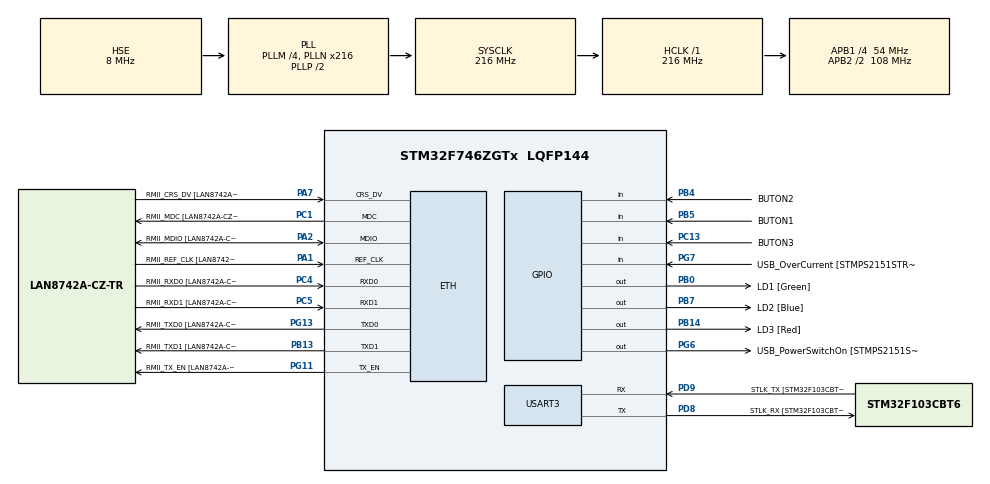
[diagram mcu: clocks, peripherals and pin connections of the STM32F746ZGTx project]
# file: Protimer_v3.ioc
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ETH.MediaInterface=ETH_MEDIA_INTERFACE_RMII
ETH.PHY_Name=LAN8742A_PHY_ADDRESS
ETH.PHY_Value=0
ETH.PhyAddress=0
Mcu.Family=STM32F7
Mcu.Name=STM32F746ZGTx
Mcu.Package=LQFP144
NVIC.PriorityGroup=NVIC_PRIORITYGROUP_4
PA1.GPIO_Label=RMII_REF_CLK [LAN8742A-CZ-TR_REFCLK0]
PA1.Mode=RMII
PA1.Signal=ETH_REF_CLK
PA13.GPIO_Label=TMS
PA13.Mode=Trace_Asynchronous_SW
PA13.Signal=SYS_JTMS-SWDIO
PA14.GPIO_Label=TCK
PA14.Mode=Trace_Asynchronous_SW
PA14.Signal=SYS_JTCK-SWCLK
PA2.GPIO_Label=RMII_MDIO [LAN8742A-CZ-TR_MDIO]
PA2.Mode=RMII
PA2.Signal=ETH_MDIO
PA7.GPIO_Label=RMII_CRS_DV [LAN8742A-CZ-TR_CRS_DV]
PA7.Mode=RMII
PA7.Signal=ETH_CRS_DV
PB0.GPIO_Label=LD1 [Green]
PB0.Signal=GPIO_Output
PB13.GPIO_Label=RMII_TXD1 [LAN8742A-CZ-TR_TXD1]
PB13.Mode=RMII
PB13.Signal=ETH_TXD1
PB14.GPIO_Label=LD3 [Red]
PB14.Signal=GPIO_Output
PB3.GPIO_Label=SW0
PB3.Mode=Trace_Asynchronous_SW
PB3.Signal=SYS_JTDO-SWO
PB4.GPIO_Label=BUTON2
PB4.GPIO_Mode=GPIO_MODE_INPUT
PB4.GPIO_PuPd=GPIO_PULLDOWN
PB4.Signal=GPIO_Input
PB5.GPIO_Label=BUTON1
PB5.GPIO_PuPd=GPIO_PULLDOWN
PB5.Signal=GPIO_Input
PB7.GPIO_Label=LD2 [Blue]
PB7.Signal=GPIO_Output
PC1.GPIO_Label=RMII_MDC [LAN8742A-CZ-TR_MDC]
PC1.Mode=RMII
PC1.Signal=ETH_MDC
PC13.GPIO_Label=BUTON3
PC13.GPIO_PuPd=GPIO_PULLDOWN
PC13.Signal=GPIO_Input
PC14/OSC32_IN.Mode=LSE-External-Oscillator
PC14/OSC32_IN.Signal=RCC_OSC32_IN
PC15/OSC32_OUT.Mode=LSE-External-Oscillator
PC15/OSC32_OUT.Signal=RCC_OSC32_OUT
PC4.GPIO_Label=RMII_RXD0 [LAN8742A-CZ-TR_RXD0]
PC4.Mode=RMII
PC4.Signal=ETH_RXD0
PC5.GPIO_Label=RMII_RXD1 [LAN8742A-CZ-TR_RXD1]
PC5.Mode=RMII
PC5.Signal=ETH_RXD1
PD8.GPIO_Label=STLK_RX [STM32F103CBT6_PA3]
PD8.Mode=Asynchronous
PD8.Signal=USART3_TX
PD9.GPIO_Label=STLK_TX [STM32F103CBT6_PA2]
PD9.Mode=Asynchronous
PD9.Signal=USART3_RX
PG11.GPIO_Label=RMII_TX_EN [LAN8742A-CZ-TR_TXEN]
PG11.Mode=RMII
PG11.Signal=ETH_TX_EN
PG13.GPIO_Label=RMII_TXD0 [LAN8742A-CZ-TR_TXD0]
PG13.Mode=RMII
PG13.Signal=ETH_TXD0
PG6.GPIO_Label=USB_PowerSwitchOn [STMPS2151STR_EN]
PG6.Signal=GPIO_Output
PG7.GPIO_Label=USB_OverCurrent [STMPS2151STR_FAULT]
PG7.Signal=GPIO_Input
PH0/OSC_IN.GPIO_Label=MCO [STM32F103CBT6_PA8]
PH0/OSC_IN.Mode=HSE-External-Clock-Source
PH0/OSC_IN.Signal=RCC_OSC_IN
PH1/OSC_OUT.Mode=HSE-External-Clock-Source
PH1/OSC_OUT.Signal=RCC_OSC_OUT
ProjectManager.HeapSize=0x200
ProjectManager.StackSize=0x400
ProjectManager.TargetToolchain=STM32CubeIDE
RCC.48MHZClocksFreq_Value=24000000
RCC.AHBFreq_Value=216000000
RCC.APB1CLKDivider=RCC_HCLK_DIV4
RCC.APB1Freq_Value=54000000
RCC.APB1TimFreq_Value=108000000
RCC.APB2CLKDivider=RCC_HCLK_DIV2
RCC.APB2Freq_Value=108000000
RCC.APB2TimFreq_Value=216000000
RCC.CortexFreq_Value=216000000
RCC.HCLKFreq_Value=216000000
RCC.HSE_VALUE=8000000
RCC.HSI_VALUE=16000000
RCC.PLLM=4
RCC.PLLMUL=RCC_PLL_MUL9
RCC.PLLN=216
RCC.PLLQ=9
RCC.PLLSourceVirtual=RCC_PLLSOURCE_HSE
RCC.PRESCALERUSB=RCC_USBCLKSOURCE_PLL_DIV1_5
RCC.SYSCLKFreq_VALUE=216000000
RCC.SYSCLKSource=RCC_SYSCLKSOURCE_PLLCLK
RCC.SYSCLKSourceVirtual=RCC_SYSCLKSOURCE_PLLCLK
RCC.USBFreq_Value=48000000
RCC.VCOOutputFreq_Value=432000000
USART3.VirtualMode-Asynchronous=VM_ASYNC
board=NUCLEO-F746ZG

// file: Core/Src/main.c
/* USER CODE BEGIN Header */
/**
  ******************************************************************************
  * @file           : main.c
  * @brief          : Main program body
  ******************************************************************************
  * @attention
  *
  * Copyright (c) 2022 STMicroelectronics.
  * All rights reserved.
  *
  * This software is licensed under terms that can be found in the LICENSE file
  * in the root directory of this software component.
  * If no LICENSE file comes with this software, it is provided AS-IS.
  *
  ******************************************************************************
  */
/* USER CODE END Header */
#include "main.h"

/* USER CODE BEGIN Includes */
#include "stdio.h"
/* USER CODE END Includes */

/* USER CODE BEGIN PD */
#define DEMCR        			*((volatile uint32_t*) 0xE000EDFCU )
#define ITM_STIMULUS_PORT0   	*((volatile uint32_t*) 0xE0000000 )
#define ITM_TRACE_EN          	*((volatile uint32_t*) 0xE0000E00 )
/* USER CODE END PD */

ETH_HandleTypeDef heth;

UART_HandleTypeDef huart3;

/* USER CODE BEGIN PV */
static protimer_t protimer;
/* USER CODE END PV */

void SystemClock_Config(void);
static void MX_GPIO_Init(void);
static void MX_ETH_Init(void);
static void MX_USART3_UART_Init(void);
/* USER CODE BEGIN PFP */
void xITM_SendChar(uint8_t ch);
int _write(int file, char *ptr, int len);
static void protimer_event_dispatcher(protimer_t *const mobj,event_t const * const e);
static uint8_t process_button_pad_value(uint8_t btn_pad_value);
static void protimer_state_table_init(protimer_t *const mobj);
/* USER CODE END PFP */

int main(void)
{

  /* MCU Configuration--------------------------------------------------------*/

  /* Reset of all peripherals, Initializes the Flash interface and the Systick. */
  HAL_Init();

  /* Configure the system clock */
  SystemClock_Config();

  /* Initialize all configured peripherals */
  MX_GPIO_Init();
//  MX_ETH_Init();
  MX_USART3_UART_Init();
  /* USER CODE BEGIN 2 */
  printf("Productive Timer Application\n");
  printf("============================\n");
  protimer_init(&protimer);
  protimer_state_table_init(&protimer);
  /* USER CODE END 2 */

  /* Infinite loop */
  while (1)
  {

    /* USER CODE BEGIN 3 */

	  uint8_t b1,b2,b3,btn_pad_value;
	  protimer_user_event_t ue;
	  static uint32_t current_time;
	  static protimer_tick_event_t te;

	  //1. Read Button Pad Status
	  b1 = HAL_GPIO_ReadPin(BUTON1_GPIO_Port,BUTON1_Pin);
	  b2 = HAL_GPIO_ReadPin(BUTON2_GPIO_Port,BUTON2_Pin);
	  b3 = HAL_GPIO_ReadPin(BUTON3_GPIO_Port,BUTON3_Pin);

	  btn_pad_value = (b1 << 2) | (b2 << 1) | b3;

	  /* Software button debouncing */
	  btn_pad_value = process_button_pad_value(btn_pad_value);

	  if(btn_pad_value){

		  if(btn_pad_value == BTN_PAD_VALUE_INC_TIME){
			  ue.super.sig = INC_TIME;
		  }
		  else if(btn_pad_value == BTN_PAD_VALUE_DEC_TIME){
			  ue.super.sig = DEC_TIME;
		  }
		  else if(btn_pad_value == BTN_PAD_VALUE_ABRT){
			  ue.super.sig = ABRT;
		  }
		  else if(btn_pad_value == BTN_PAD_VALUE_SP){
			  ue.super.sig = START_PAUSE;
		  }

		  //3. send it to event dispatcher
		  protimer_event_dispatcher(&protimer,&ue.super); // ue = user event

	  }

	  //Dispatch the time tick event for every 100ms

	  if(HAL_GetTick() - current_time >= 100){

		  //100ms passed
		  current_time = HAL_GetTick();
		  te.super.sig = TIME_TICK;
		  if(++te.ss > 10) te.ss = 1;
		  protimer_event_dispatcher(&protimer,&te.super); // te = tick event
	  }

  }
  /* USER CODE END 3 */
}

void SystemClock_Config(void)
{
  RCC_OscInitTypeDef RCC_OscInitStruct = {0};
  RCC_ClkInitTypeDef RCC_ClkInitStruct = {0};

  /** Configure LSE Drive Capability
  */
  HAL_PWR_EnableBkUpAccess();

  /** Configure the main internal regulator output voltage
  */
  __HAL_RCC_PWR_CLK_ENABLE();
  __HAL_PWR_VOLTAGESCALING_CONFIG(PWR_REGULATOR_VOLTAGE_SCALE1);

  /** Initializes the RCC Oscillators according to the specified parameters
  * in the RCC_OscInitTypeDef structure.
  */
  RCC_OscInitStruct.OscillatorType = RCC_OSCILLATORTYPE_HSE;
  RCC_OscInitStruct.HSEState = RCC_HSE_BYPASS;
  RCC_OscInitStruct.PLL.PLLState = RCC_PLL_ON;
  RCC_OscInitStruct.PLL.PLLSource = RCC_PLLSOURCE_HSE;
  RCC_OscInitStruct.PLL.PLLM = 4;
  RCC_OscInitStruct.PLL.PLLN = 216;
  RCC_OscInitStruct.PLL.PLLP = RCC_PLLP_DIV2;
  RCC_OscInitStruct.PLL.PLLQ = 9;
  if (HAL_RCC_OscConfig(&RCC_OscInitStruct) != HAL_OK)
  {
    Error_Handler();
  }

  /** Activate the Over-Drive mode
  */
  if (HAL_PWREx_EnableOverDrive() != HAL_OK)
  {
    Error_Handler();
  }

  /** Initializes the CPU, AHB and APB buses clocks
  */
  RCC_ClkInitStruct.ClockType = RCC_CLOCKTYPE_HCLK|RCC_CLOCKTYPE_SYSCLK
                              |RCC_CLOCKTYPE_PCLK1|RCC_CLOCKTYPE_PCLK2;
  RCC_ClkInitStruct.SYSCLKSource = RCC_SYSCLKSOURCE_PLLCLK;
  RCC_ClkInitStruct.AHBCLKDivider = RCC_SYSCLK_DIV1;
  RCC_ClkInitStruct.APB1CLKDivider = RCC_HCLK_DIV4;
  RCC_ClkInitStruct.APB2CLKDivider = RCC_HCLK_DIV2;

  if (HAL_RCC_ClockConfig(&RCC_ClkInitStruct, FLASH_LATENCY_7) != HAL_OK)
  {
    Error_Handler();
  }
}

static void MX_ETH_Init(void)
{

   static uint8_t MACAddr[6];

  heth.Instance = ETH;
  heth.Init.AutoNegotiation = ETH_AUTONEGOTIATION_ENABLE;
  heth.Init.Speed = ETH_SPEED_100M;
  heth.Init.DuplexMode = ETH_MODE_FULLDUPLEX;
  heth.Init.PhyAddress = LAN8742A_PHY_ADDRESS;
  MACAddr[0] = 0x00;
  MACAddr[1] = 0x80;
  MACAddr[2] = 0xE1;
  MACAddr[3] = 0x00;
  MACAddr[4] = 0x00;
  MACAddr[5] = 0x00;
  heth.Init.MACAddr = &MACAddr[0];
  heth.Init.RxMode = ETH_RXPOLLING_MODE;
  heth.Init.ChecksumMode = ETH_CHECKSUM_BY_HARDWARE;
  heth.Init.MediaInterface = ETH_MEDIA_INTERFACE_RMII;

  if (HAL_ETH_Init(&heth) != HAL_OK)
  {
    Error_Handler();
  }

}

static void MX_USART3_UART_Init(void)
{

  huart3.Instance = USART3;
  huart3.Init.BaudRate = 115200;
  huart3.Init.WordLength = UART_WORDLENGTH_8B;
  huart3.Init.StopBits = UART_STOPBITS_1;
  huart3.Init.Parity = UART_PARITY_NONE;
  huart3.Init.Mode = UART_MODE_TX_RX;
  huart3.Init.HwFlowCtl = UART_HWCONTROL_NONE;
  huart3.Init.OverSampling = UART_OVERSAMPLING_16;
  huart3.Init.OneBitSampling = UART_ONE_BIT_SAMPLE_DISABLE;
  huart3.AdvancedInit.AdvFeatureInit = UART_ADVFEATURE_NO_INIT;
  if (HAL_UART_Init(&huart3) != HAL_OK)
  {
    Error_Handler();
  }

}

static void MX_GPIO_Init(void)
{
  GPIO_InitTypeDef GPIO_InitStruct = {0};

  /* GPIO Ports Clock Enable */
  __HAL_RCC_GPIOC_CLK_ENABLE();
  __HAL_RCC_GPIOH_CLK_ENABLE();
  __HAL_RCC_GPIOA_CLK_ENABLE();
  __HAL_RCC_GPIOB_CLK_ENABLE();
  __HAL_RCC_GPIOD_CLK_ENABLE();
  __HAL_RCC_GPIOG_CLK_ENABLE();

  /*Configure GPIO pin Output Level */
  HAL_GPIO_WritePin(GPIOB, LD1_Pin|LD3_Pin|LD2_Pin, GPIO_PIN_RESET);

  /*Configure GPIO pin Output Level */
  HAL_GPIO_WritePin(USB_PowerSwitchOn_GPIO_Port, USB_PowerSwitchOn_Pin, GPIO_PIN_RESET);

  /*Configure GPIO pin : BUTON3_Pin */
  GPIO_InitStruct.Pin = BUTON3_Pin;
  GPIO_InitStruct.Mode = GPIO_MODE_INPUT;
  GPIO_InitStruct.Pull = GPIO_PULLDOWN;
  HAL_GPIO_Init(BUTON3_GPIO_Port, &GPIO_InitStruct);

  /*Configure GPIO pins : LD1_Pin LD3_Pin LD2_Pin */
  GPIO_InitStruct.Pin = LD1_Pin|LD3_Pin|LD2_Pin;
  GPIO_InitStruct.Mode = GPIO_MODE_OUTPUT_PP;
  GPIO_InitStruct.Pull = GPIO_NOPULL;
  GPIO_InitStruct.Speed = GPIO_SPEED_FREQ_LOW;
  HAL_GPIO_Init(GPIOB, &GPIO_InitStruct);

  /*Configure GPIO pin : USB_PowerSwitchOn_Pin */
  GPIO_InitStruct.Pin = USB_PowerSwitchOn_Pin;
  GPIO_InitStruct.Mode = GPIO_MODE_OUTPUT_PP;
  GPIO_InitStruct.Pull = GPIO_NOPULL;
  GPIO_InitStruct.Speed = GPIO_SPEED_FREQ_LOW;
  HAL_GPIO_Init(USB_PowerSwitchOn_GPIO_Port, &GPIO_InitStruct);

  /*Configure GPIO pin : USB_OverCurrent_Pin */
  GPIO_InitStruct.Pin = USB_OverCurrent_Pin;
  GPIO_InitStruct.Mode = GPIO_MODE_INPUT;
  GPIO_InitStruct.Pull = GPIO_NOPULL;
  HAL_GPIO_Init(USB_OverCurrent_GPIO_Port, &GPIO_InitStruct);

  /*Configure GPIO pins : BUTON2_Pin BUTON1_Pin */
  GPIO_InitStruct.Pin = BUTON2_Pin|BUTON1_Pin;
  GPIO_InitStruct.Mode = GPIO_MODE_INPUT;
  GPIO_InitStruct.Pull = GPIO_PULLDOWN;
  HAL_GPIO_Init(GPIOB, &GPIO_InitStruct);

}

/* USER CODE BEGIN 4 */

static void protimer_event_dispatcher(protimer_t *const mobj,event_t const * const e){

	event_status_t status;
	protimer_state_t source=0,target=0;
	e_handler_t e_handler;

	source = mobj->active_state;
	e_handler = (e_handler_t)mobj->state_table[mobj->active_state * MAX_SIGNALS + e->sig];
	if(e_handler)
		status = (*e_handler)(mobj,e);

	if(status == EVENT_TRANSITION){

		target = mobj->active_state;
		event_t ee;

		//1. run the source exit action
		ee.sig = EXIT;
		e_handler = (e_handler_t)mobj->state_table[source * MAX_SIGNALS + EXIT];
		if(e_handler)
			(*e_handler)(mobj,&ee);

		//2. run the target entry action
		ee.sig = ENTRY;
		e_handler = (e_handler_t)mobj->state_table[target * MAX_SIGNALS + ENTRY];
		if(e_handler)
			(*e_handler)(mobj,&ee);

	}
}

static uint8_t process_button_pad_value(uint8_t btn_pad_value){

	static button_state_t btn_sm_state = NOT_PRESSED;
//	static uint32_t curr_time = HAL_GetTick();
	static uint32_t curr_time = 0;

	switch(btn_sm_state){

		case NOT_PRESSED:
		  if(btn_pad_value){
			  btn_sm_state = BOUNCE;
			  curr_time = HAL_GetTick();
		  }
		  break;

		case BOUNCE:
		  if(HAL_GetTick() - curr_time >= 50){
			  //50ms has passed
			  if(btn_pad_value){
				  btn_sm_state = PRESSED;
			  	  return btn_pad_value;
			  }
			  else
				  btn_sm_state = NOT_PRESSED;
		  }
		  break;

		case PRESSED:
		  if(!btn_pad_value){
			  btn_sm_state = BOUNCE;
			  curr_time = HAL_GetTick();
		  }
		  break;

	}

	return 0;
}

static void protimer_state_table_init(protimer_t *const mobj){
	static e_handler_t protimer_state_table[MAX_STATES][MAX_SIGNALS] = {

		[IDLE] = {&IDLE_IncTime, NULL, &IDLE_TimeTick, &IDLE_StartPause, NULL, &IDLE_Entry, &IDLE_Exit},

		[TIME_SET] = {&TIMESET_IncTime, &TIMESET_DecTime, NULL, &TIMESET_StartPause, &TIMESET_Abort ,&TIMESET_Entry ,&TIMESET_Exit},

		[COUNTDOWN] = {NULL, NULL, &COUNTDOWN_TimeTick, &COUNTDOWN_StartPause, &COUNTDOWN_Abort, NULL, &COUNTDOWN_Exit},

		[PAUSE] = {&PAUSE_IncTime, &PAUSE_DecTime, NULL, &PAUSE_StartPause, &PAUSE_Abort, &PAUSE_Entry, &PAUSE_Exit},

		[STAT] = {NULL, NULL, &STAT_TimeTick, NULL, NULL, &STAT_Entry, &STAT_Exit},

	};

	mobj->state_table = (uintptr_t *) &protimer_state_table[0][0];
}

void xITM_SendChar(uint8_t ch)
{
	//Enable TRCENA
	DEMCR |= ( 1 << 24);

	//enable stimulus port 0
	ITM_TRACE_EN |= ( 1 << 0);

	// read FIFO status in bit [0]:
	while(!(ITM_STIMULUS_PORT0 & 1));

	//Write to ITM stimulus port0
	ITM_STIMULUS_PORT0 = ch;
}

int _write(int file, char *ptr, int len)
{
  /* Implement your write code here, this is used by puts and printf for example */
  int i=0;

  for(i=0 ; i<len ; i++)
    xITM_SendChar((*ptr++));
//	  ITM_SendChar((*ptr++));

  return len;
}

/* USER CODE END 4 */

void Error_Handler(void)
{
  __disable_irq();
  while (1)
  {
  }
}
